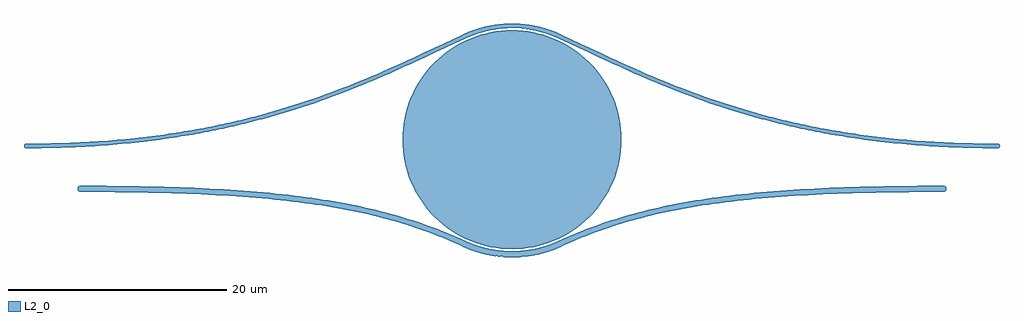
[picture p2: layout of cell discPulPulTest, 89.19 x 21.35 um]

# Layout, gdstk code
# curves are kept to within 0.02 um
import gdstk
lib = gdstk.Library(unit=1e-6, precision=1e-09)
def P(c, l, *ps):  # polygons
    for p in ps: c.add(gdstk.Polygon(p, *l))
L2_0 = (2, 0)

discpulpultest = lib.new_cell('discPulPulTest')
P(discpulpultest, L2_0, [(10,10),(9.02,10.048),(8.049,10.192),(7.097,10.431),(6.173,10.761),(5.286,11.181),(4.444,11.685),(3.656,12.27),(2.929,12.929),(2.27,13.656),(1.685,14.444),(1.181,15.286),(0.761,16.173),(0.431,17.097),(0.192,18.049),(0.048,19.02),(0,20),(0.048,20.98),(0.192,21.951),(0.431,22.903),(0.761,23.827),(1.181,24.714),(1.685,25.556),(2.27,26.344),(2.929,27.071),(3.656,27.73),(4.444,28.315),(5.286,28.819),(6.173,29.239),(7.097,29.569),(8.049,29.808),(9.02,29.952),(10,30),(10.98,29.952),(11.951,29.808),(12.903,29.569),(13.827,29.239),(14.714,28.819),(15.556,28.315),(16.344,27.73),(17.071,27.071),(17.73,26.344),(18.315,25.556),(18.819,24.714),(19.239,23.827),(19.569,22.903),(19.808,21.951),(19.952,20.98),(20,20),(19.952,19.02),(19.808,18.049),(19.569,17.097),(19.239,16.173),(18.819,15.286),(18.315,14.444),(17.73,13.656),(17.071,12.929),(16.344,12.27),(15.556,11.685),(14.714,11.181),(13.827,10.761),(12.903,10.431),(11.951,10.192),(10.98,10.048)],
  [(-34.395,19.226),(-34.395,19.626),(-31.201,19.675),(-28.167,19.819),(-25.285,20.05),(-22.166,20.413),(-19.944,20.748),(-17.816,21.133),(-15.777,21.563),(-13.823,22.033),(-11.642,22.628),(-9.272,23.359),(-7.022,24.137),(-4.878,24.95),(-2.83,25.789),(-0.866,26.643),(5.569,29.63),(6.374,29.961),(7.204,30.225),(8.123,30.433),(9.022,30.555),(9.927,30.6),(10.978,30.555),(11.877,30.433),(12.796,30.225),(13.626,29.961),(14.431,29.63),(20.866,26.643),(23.334,25.577),(25.405,24.744),(27.574,23.939),(29.853,23.172),(32.255,22.453),(34.465,21.872),(36.786,21.342),(39.225,20.871),(41.789,20.465),(44.094,20.174),(46.914,19.908),(49.448,19.746),(52.097,19.651),(54.395,19.626),(54.395,19.226),(52.546,19.242),(50.308,19.307),(48.151,19.419),(46.072,19.576),(43.285,19.866),(40.636,20.232),(37.769,20.735),(34.731,21.397),(32.186,22.058),(29.775,22.778),(27.486,23.547),(25.307,24.355),(23.226,25.191),(21.232,26.045),(18.844,27.122),(14.232,29.281),(13.456,29.597),(12.556,29.875),(11.668,30.063),(10.837,30.166),(9.93,30.2),(9.094,30.16),(8.16,30.033),(7.309,29.839),(6.544,29.597),(5.768,29.281),(1.156,27.122),(-1.232,26.045),(-3.226,25.191),(-5.307,24.355),(-7.486,23.547),(-9.775,22.778),(-12.186,22.058),(-14.405,21.476),(-16.735,20.945),(-19.182,20.473),(-21.379,20.12),(-24.067,19.775),(-26.894,19.508),(-29.436,19.346),(-32.092,19.251)],
  [(10,9.25),(9.191,9.28),(8.496,9.356),(7.772,9.483),(7.093,9.65),(6.014,10.016),(4.325,10.764),(2.779,11.39),(1.586,11.824),(-0.056,12.357),(-1.767,12.837),(-3.555,13.268),(-5.43,13.651),(-7.402,13.987),(-9.481,14.279),(-11.115,14.47),(-15.206,14.827),(-18.386,15.009),(-21.804,15.135),(-25.478,15.208),(-29.427,15.231),(-29.534,15.253),(-29.621,15.312),(-29.69,15.425),(-29.701,15.535),(-29.669,15.638),(-29.602,15.719),(-29.427,15.781),(-29.427,15.231),(-29.427,15.781),(-24.703,15.747),(-19.681,15.614),(-16.391,15.453),(-13.326,15.233),(-11.025,15.012),(-8.32,14.677),(-6.782,14.444),(-4.821,14.092),(-2.954,13.694),(-1.611,13.364),(0.533,12.75),(2.174,12.2),(4.146,11.437),(6.185,10.54),(6.974,10.259),(7.75,10.051),(8.47,9.915),(9.268,9.826),(10.07,9.8),(10.837,9.834),(11.53,9.915),(12.25,10.051),(13.026,10.259),(13.847,10.553),(15.854,11.437),(17.425,12.054),(19.051,12.618),(21.173,13.247),(22.501,13.587),(24.346,13.997),(25.789,14.274),(27.801,14.602),(29.921,14.886),(32.16,15.128),(34.526,15.328),(37.03,15.49),(39.681,15.614),(42.489,15.703),(45.462,15.758),(49.427,15.781),(49.427,15.231),(45.478,15.208),(42.518,15.154),(39.05,15.039),(36.451,14.907),(33.403,14.689),(31.115,14.47),(28.428,14.139),(26.404,13.825),(24.481,13.465),(23.1,13.165),(21.332,12.722),(20.056,12.357),(18.414,11.824),(17.221,11.39),(15.675,10.764),(13.986,10.016),(12.907,9.65),(12.228,9.483),(11.504,9.356),(10.809,9.28)],
  [(49.427,15.231),(49.427,15.781),(49.534,15.76),(49.621,15.701),(49.68,15.613),(49.702,15.506),(49.68,15.399),(49.621,15.312),(49.534,15.253)],
  [(54.395,19.226),(54.395,19.626),(54.473,19.61),(54.537,19.567),(54.58,19.503),(54.595,19.426),(54.58,19.348),(54.537,19.284),(54.473,19.241)],
  [(-34.395,19.226),(-34.473,19.241),(-34.537,19.284),(-34.58,19.348),(-34.595,19.426),(-34.58,19.503),(-34.537,19.567),(-34.473,19.61),(-34.395,19.626)])

lib.write_gds('discPulPulTest.gds')
